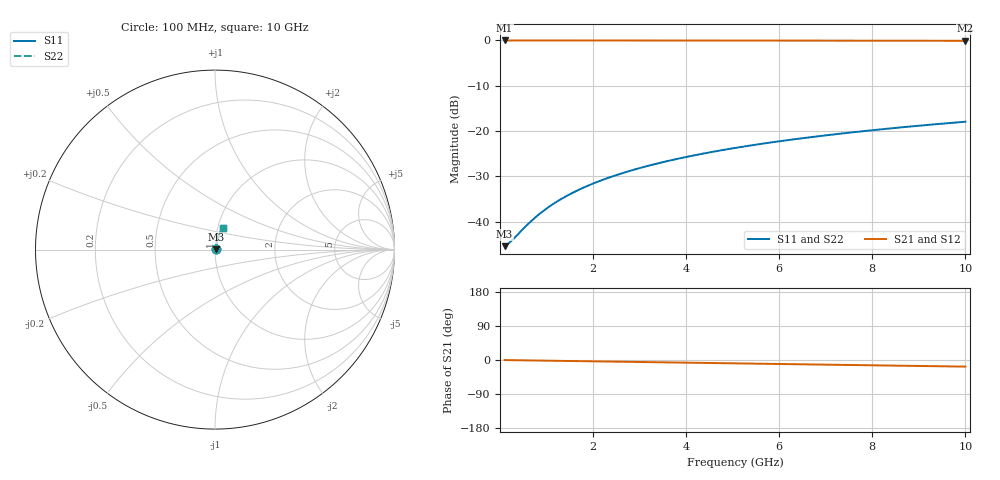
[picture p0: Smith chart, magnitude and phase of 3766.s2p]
# Hz S RI R 50.00
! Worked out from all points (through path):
!   100 points, 100 MHz to 10 GHz, reference 50 ohm
!   highest |S21| = -0.05 dB at 100 MHz (marker M1); lowest = -0.1 dB at 10 GHz (marker M2)
!   group delay of S21, straight-line fit = 4.86 ps
!   lowest |S11| = -45.4 dB at 100 MHz (marker M3), VSWR 1.01, Z = 50.5 + j0.129 ohm
!   |S11| at or under -10 dB: start of sweep to end of sweep
!   |S22| runs from -45.4 to -18.0 dB; largest |S21 - S12| = 0
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1e8  0.00523 0.00127  0.9948 -0.00304  0.9948 -0.00304  0.00523 0.00127
2e8  0.00527 0.00255  0.9947 -0.00609  0.9947 -0.00609  0.00527 0.00255
3e8  0.00531 0.00382  0.9947 -0.00913  0.9947 -0.00913  0.00531 0.00382
6e8  0.00547 0.00764  0.9945 -0.0183  0.9945 -0.0183  0.00547 0.00764
7e8  0.00554 0.00891  0.9944 -0.0213  0.9944 -0.0213  0.00554 0.00891
8e8  0.00561 0.0102  0.9943 -0.0243  0.9943 -0.0243  0.00561 0.0102
1e9  0.00577 0.0127  0.9941 -0.0304  0.9941 -0.0304  0.00577 0.0127
1.2e9  0.00596 0.0153  0.9938 -0.0365  0.9938 -0.0365  0.00596 0.0153
1.4e9  0.00618 0.0178  0.9935 -0.0426  0.9935 -0.0426  0.00618 0.0178
1.6e9  0.00643 0.0203  0.9931 -0.0487  0.9931 -0.0487  0.00643 0.0203
1.8e9  0.00671 0.0229  0.9928 -0.0547  0.9928 -0.0547  0.00671 0.0229
2.1e9  0.00718 0.0266  0.9921 -0.0638  0.9921 -0.0638  0.00718 0.0266
2.5e9  0.00792 0.0317  0.9911 -0.0759  0.9911 -0.0759  0.00792 0.0317
2.9e9  0.00878 0.0367  0.9898 -0.088  0.9898 -0.088  0.00878 0.0367
3.4e9  0.01 0.0429  0.9881 -0.1031  0.9881 -0.1031  0.01 0.0429
4.2e9  0.0124 0.0528  0.9847 -0.1272  0.9847 -0.1272  0.0124 0.0528
5.1e9  0.0157 0.0637  0.9802 -0.1541  0.9802 -0.1541  0.0157 0.0637
5.9e9  0.019 0.0733  0.9754 -0.1778  0.9754 -0.1778  0.019 0.0733
6.7e9  0.0229 0.0826  0.9699 -0.2014  0.9699 -0.2014  0.0229 0.0826
7.5e9  0.0272 0.0918  0.9638 -0.2247  0.9638 -0.2247  0.0272 0.0918
8.4e9  0.0325 0.1018  0.9562 -0.2507  0.9562 -0.2507  0.0325 0.1018
1e10  0.0433 0.1188  0.9406 -0.2961  0.9406 -0.2961  0.0433 0.1188
